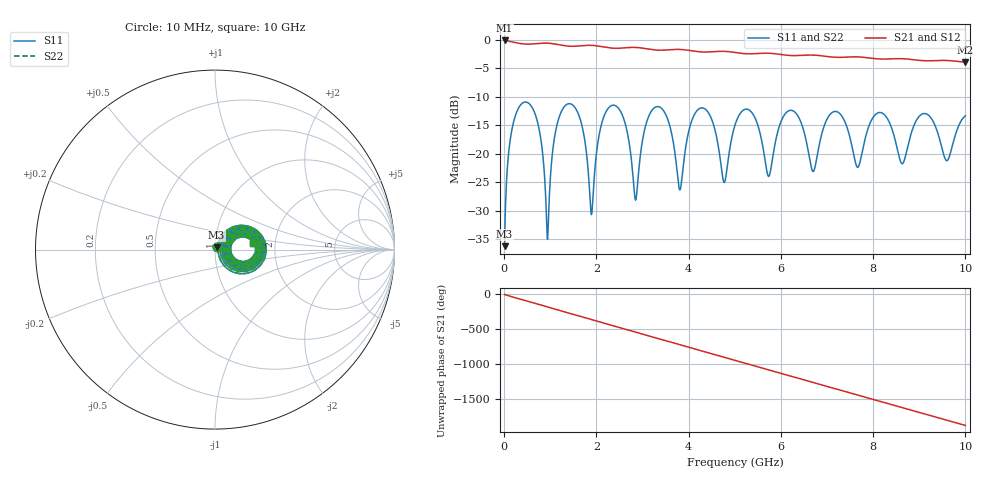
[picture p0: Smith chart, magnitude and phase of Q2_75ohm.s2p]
! Touchstone generated by fitter/viewer
# HZ S  RI R 5.000000e+001
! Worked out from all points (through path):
!   1000 points, 10 MHz to 10 GHz, reference 50 ohm
!   highest |S21| = -0.08 dB at 10 MHz (marker M1); lowest = -3.9 dB at 10 GHz (marker M2)
!   group delay of S21, straight-line fit = 520 ps
!   lowest |S11| = -36.2 dB at 10 MHz (marker M3), VSWR 1.03, Z = 50.9 + j1.29 ohm
!   |S11| at or under -10 dB: start of sweep to end of sweep
!   |S22| runs from -36.2 to -10.9 dB; largest |S21 - S12| = 0
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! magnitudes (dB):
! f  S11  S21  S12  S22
! 10 MHz  -36.2  -0.1  -0.1  -36.2
! 350 MHz  -11.5  -0.6  -0.6  -11.5
! 720 MHz  -14.3  -0.6  -0.6  -14.3
! 940 MHz  -35.0  -0.6  -0.6  -35.0
! 1.22 GHz  -13.0  -0.9  -0.9  -13.0
! 1.68 GHz  -14.8  -1.0  -1.0  -14.8
! 1.89 GHz  -30.7  -0.9  -0.9  -30.7
! 2.35 GHz  -11.5  -1.4  -1.4  -11.5
! 2.85 GHz  -28.1  -1.3  -1.3  -28.1
! 3.34 GHz  -11.7  -1.8  -1.8  -11.7
! 3.81 GHz  -26.4  -1.7  -1.7  -26.4
! 4.19 GHz  -12.3  -2.0  -2.0  -12.3
! 4.77 GHz  -25.0  -2.0  -2.0  -25.0
! 5.01 GHz  -14.8  -2.2  -2.2  -14.8
! 5.74 GHz  -24.0  -2.3  -2.3  -24.0
! 6.27 GHz  -12.5  -2.7  -2.7  -12.5
! 6.67 GHz  -22.7  -2.6  -2.6  -22.7
! 7.12 GHz  -12.7  -3.0  -3.0  -12.7
! 7.66 GHz  -22.4  -3.0  -3.0  -22.4
! 8.34 GHz  -14.3  -3.3  -3.3  -14.3
! 9.6 GHz  -21.2  -3.6  -3.6  -21.2
! 10 GHz  -13.3  -3.9  -3.9  -13.3
